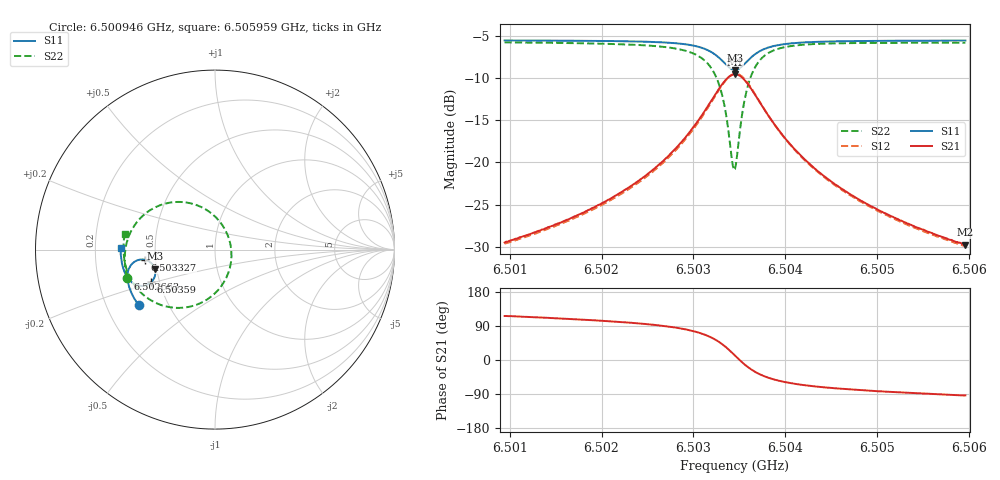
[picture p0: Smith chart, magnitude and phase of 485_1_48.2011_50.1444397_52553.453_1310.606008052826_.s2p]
#  HZ  S  RI  R  50.00
! Rohde & Schwarz Vector Network Analyzer
! Rohde-Schwarz,ZNB20-2Port,1311601062101988,3.16
! Created: UTC 3/20/2024, 11:57:49 AM
! freq[Hz]  re:S11  im:S11  re:S21  im:S21  re:S12  im:S12  re:S22  im:S22
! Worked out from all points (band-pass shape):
!   401 points, 6.500946 GHz to 6.505959 GHz, reference 50 ohm
!   highest |S21| = -9.57 dB at 6.503452 GHz (marker M1); lowest = -29.8 dB at 6.505959 GHz (marker M2)
!   |S21| within 3 dB of the highest: 6.503202 GHz to 6.503704 GHz (501.9 kHz wide, 0.00772 % of centre)
!   lowest |S11| = -9.1 dB at 6.503452 GHz (marker M3), VSWR 2.09, Z = 24.4 - j5.93 ohm
!   |S11| at or under -10 dB: nowhere
!   |S22| runs from -20.9 to -5.8 dB; largest |S21 - S12| = 0.011
!   S11 on the Smith chart (normalised r, x): 6.500946 GHz: 0.34, -0.29; 6.502663 GHz: 0.33, -0.14; 6.503327 GHz: 0.44, -0.06; 6.50359 GHz: 0.45, -0.19; 6.505959 GHz: 0.31, +0.01
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6.5009457e9  -0.426 -0.3103  -0.0147 0.0301  -0.0133 0.0302  -0.4894 -0.1555
6.5017855e9  -0.4621 -0.2483  -0.0142 0.048  -0.012 0.0474  -0.5026 -0.0664
6.5022492e9  -0.4786 -0.2072  -0.0114 0.0676  -0.00835 0.0663  -0.4997 -0.000441
6.5026252e9  -0.4874 -0.1656  -0.00239 0.0971  0.00122 0.0947  -0.4801 0.0747
6.5026628e9  -0.4879 -0.1606  -0.000469 0.1011  0.00299 0.0987  -0.4763 0.0842
6.5029385e9  -0.4839 -0.1176  0.0265 0.1437  0.0298 0.1395  -0.4206 0.1703
6.5031265e9  -0.4624 -0.0794  0.0809 0.1861  0.083 0.1802  -0.3166 0.2428
6.5032393e9  -0.4297 -0.0586  0.1502 0.2038  0.1507 0.1979  -0.1916 0.2655
6.5033271e9  -0.389 -0.0569  0.2304 0.1875  0.2303 0.183  -0.0534 0.2248
6.5033647e9  -0.3694 -0.0647  0.2668 0.1642  0.2676 0.1604  0.00709 0.1777
6.5034273e9  -0.3423 -0.0916  0.3151 0.0998  0.3179 0.0957  0.08 0.0538
6.5034524e9  -0.3358 -0.1064  0.3252 0.0673  0.3289 0.0622  0.091 -0.00694
6.5034775e9  -0.3327 -0.1223  0.3291 0.0333  0.3329 0.0271  0.0892 -0.0689
6.5035401e9  -0.3397 -0.16  0.3106 -0.0454  0.3134 -0.0548  0.0334 -0.2058
6.5035903e9  -0.3562 -0.1823  0.277 -0.0914  0.2772 -0.1024  -0.0437 -0.2777
6.5037031e9  -0.4011 -0.202  0.1918 -0.1365  0.187 -0.1461  -0.2163 -0.3246
6.503866e9  -0.4478 -0.1925  0.1093 -0.1333  0.1026 -0.1385  -0.365 -0.2775
6.5040415e9  -0.4754 -0.1712  0.0644 -0.113  0.0584 -0.1153  -0.4378 -0.2121
6.5042921e9  -0.4962 -0.1412  0.0343 -0.0885  0.0295 -0.0891  -0.4814 -0.1395
6.5046681e9  -0.5119 -0.1019  0.015 -0.0652  0.0118 -0.0647  -0.5039 -0.0645
6.5051319e9  -0.5214 -0.0587  0.00505 -0.0483  0.00288 -0.0477  -0.5103 0.0012
6.5059591e9  -0.5263 0.0113  -0.00197 -0.0325  -0.00331 -0.0317  -0.5025 0.089
